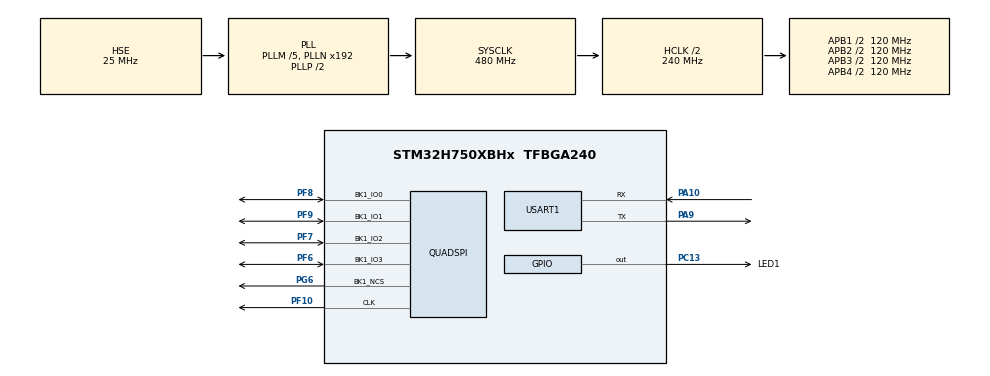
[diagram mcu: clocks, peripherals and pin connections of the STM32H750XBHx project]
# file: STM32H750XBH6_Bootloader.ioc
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CORTEX_M7.AccessPermission_S-Cortex_Memory_Protection_Unit_Region1_Settings_S=MPU_REGION_FULL_ACCESS
CORTEX_M7.BaseAddress_S-Cortex_Memory_Protection_Unit_Region1_Settings_S=0x90000000
CORTEX_M7.CPU_DCache=Enabled
CORTEX_M7.CPU_ICache=Enabled
CORTEX_M7.Enable_S-Cortex_Memory_Protection_Unit_Region1_Settings_S=MPU_REGION_ENABLE
CORTEX_M7.IsCacheable_S-Cortex_Memory_Protection_Unit_Region1_Settings_S=MPU_ACCESS_CACHEABLE
CORTEX_M7.Size_S-Cortex_Memory_Protection_Unit_Region1_Settings_S=MPU_REGION_SIZE_128MB
CORTEX_M7.default_mode_Activation=1
Mcu.Family=STM32H7
Mcu.Name=STM32H750XBHx
Mcu.Package=TFBGA240
NVIC.PriorityGroup=NVIC_PRIORITYGROUP_4
PA10.Mode=Asynchronous
PA10.Signal=USART1_RX
PA13\ (JTMS/SWDIO).Mode=Serial_Wire
PA13\ (JTMS/SWDIO).Signal=DEBUG_JTMS-SWDIO
PA14\ (JTCK/SWCLK).Mode=Serial_Wire
PA14\ (JTCK/SWCLK).Signal=DEBUG_JTCK-SWCLK
PA9.Mode=Asynchronous
PA9.Signal=USART1_TX
PC13.GPIO_Label=LED1
PC13.Signal=GPIO_Output
PF10.GPIO_Speed=GPIO_SPEED_FREQ_VERY_HIGH
PF10.Mode=Single Bank 1
PF10.Signal=QUADSPI_CLK
PF6.GPIO_Speed=GPIO_SPEED_FREQ_VERY_HIGH
PF6.Mode=Single Bank 1
PF6.Signal=QUADSPI_BK1_IO3
PF7.GPIO_Speed=GPIO_SPEED_FREQ_VERY_HIGH
PF7.Mode=Single Bank 1
PF7.Signal=QUADSPI_BK1_IO2
PF8.GPIO_Speed=GPIO_SPEED_FREQ_VERY_HIGH
PF8.Mode=Single Bank 1
PF8.Signal=QUADSPI_BK1_IO0
PF9.GPIO_Speed=GPIO_SPEED_FREQ_VERY_HIGH
PF9.Mode=Single Bank 1
PF9.Signal=QUADSPI_BK1_IO1
PG6.GPIO_Speed=GPIO_SPEED_FREQ_VERY_HIGH
PG6.Mode=Single Bank 1
PG6.Signal=QUADSPI_BK1_NCS
PH0-OSC_IN\ (PH0).Mode=HSE-External-Oscillator
PH0-OSC_IN\ (PH0).Signal=RCC_OSC_IN
PH1-OSC_OUT\ (PH1).Mode=HSE-External-Oscillator
PH1-OSC_OUT\ (PH1).Signal=RCC_OSC_OUT
ProjectManager.HeapSize=0x400
ProjectManager.StackSize=0x600
ProjectManager.TargetToolchain=CMake
QUADSPI.ClockMode=QSPI_CLOCK_MODE_3
QUADSPI.ClockPrescaler=1
QUADSPI.FifoThreshold=32
QUADSPI.FlashSize=22
QUADSPI.SampleShifting=QSPI_SAMPLE_SHIFTING_HALFCYCLE
RCC.ADCFreq_Value=480000000
RCC.APB1Freq_Value=120000000
RCC.APB2Freq_Value=120000000
RCC.APB3Freq_Value=120000000
RCC.APB4Freq_Value=120000000
RCC.CortexFreq_Value=480000000
RCC.D1PPRE=RCC_APB3_DIV2
RCC.D2PPRE1=RCC_APB1_DIV2
RCC.D2PPRE2=RCC_APB2_DIV2
RCC.D3PPRE=RCC_APB4_DIV2
RCC.DIVM1=5
RCC.DIVM2=5
RCC.DIVM3=5
RCC.DIVN1=192
RCC.DIVN2=192
RCC.DIVN3=192
RCC.HCLKFreq_Value=240000000
RCC.HPRE=RCC_HCLK_DIV2
RCC.PLLFRACN=0
RCC.PLLSourceVirtual=RCC_PLLSOURCE_HSE
RCC.SYSCLKFreq_VALUE=480000000
RCC.SYSCLKSource=RCC_SYSCLKSOURCE_PLLCLK
RCC.USBFreq_Value=480000000
USART1.DMADisableonRxErrorParam=ADVFEATURE_DMA_DISABLEONRXERROR
USART1.OverrunDisableParam=ADVFEATURE_OVERRUN_DISABLE
USART1.VirtualMode-Asynchronous=VM_ASYNC
VP_MEMORYMAP_VS_MEMORYMAP.Mode=CurAppReg
board=custom

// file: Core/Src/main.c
/* USER CODE BEGIN Header */
/**
  ******************************************************************************
  * @file           : main.c
  * @brief          : Main program body
  ******************************************************************************
  * @attention
  *
  * Copyright (c) 2026 STMicroelectronics.
  * All rights reserved.
  *
  * This software is licensed under terms that can be found in the LICENSE file
  * in the root directory of this software component.
  * If no LICENSE file comes with this software, it is provided AS-IS.
  *
  ******************************************************************************
  */
/* USER CODE END Header */
#include "main.h"
#include "quadspi.h"
#include "usart.h"
#include "gpio.h"

/* USER CODE BEGIN Includes */
#include "qspi_w25q64.h"	/* BSP: W25Qxx (QSPI Flash) */
#include "retarget.h"			/* Library: printf -> USART1 */

/* LED：引脚配置由 CubeMX 生成的 gpio.c(MX_GPIO_Init) 负责，默认输出低=点亮。
   需要控制时再 #include "led.h" 使用 LED1_ON / LED1_OFF / LED1_Toggle 宏 */
/* USER CODE END Includes */

/* USER CODE BEGIN PTD */
typedef void (*pFunction)(void); /* 用于跳转到用户程序的函数指针类型 */
/* USER CODE END PTD */

/* USER CODE BEGIN PV */
/* 这两个变量必须是全局（不能在栈上）：设置MSP之后栈指针就切到用户程序那边了，
   若函数指针和栈指针存放在栈上，跳转时就会取到已经失效的内存 */
static pFunction JumpToApplication; /* 用户程序入口地址 */
static uint32_t AppStackPointer; /* 用户程序的初始MSP */
/* USER CODE END PV */

void SystemClock_Config(void);

static void MPU_Config(void);

int main(void) {

    /* MPU Configuration--------------------------------------------------------*/
    MPU_Config();

    /* Enable the CPU Cache */

    /* Enable I-Cache---------------------------------------------------------*/
    SCB_EnableICache();

    /* Enable D-Cache---------------------------------------------------------*/
    SCB_EnableDCache();

    /* MCU Configuration--------------------------------------------------------*/

    /* Reset of all peripherals, Initializes the Flash interface and the Systick. */
    HAL_Init();

    /* Configure the system clock */
    SystemClock_Config();

    /* Initialize all configured peripherals */
    MX_GPIO_Init();
    MX_QUADSPI_Init();
    MX_USART1_UART_Init();
    /* USER CODE BEGIN 2 */
    /* 说明：QSPI 内存映射区(0x90000000)的 MPU 访问权限由 CubeMX 生成的
       MPU_Config() 负责（CORTEX_M7 -> MPU Region 1 Settings，
       BaseAddress=0x90000000 / Size=128MB / AccessPermission=FULL_ACCESS），
       它在 main() 开头已经被调用，这里不需要再做任何 MPU 配置。 */

    /* printf()输出到USART1：由 Library/retarget.c 提供重定向 */
    RetargetInit(&huart1);

    printf("\r\n***************************************\r\n");

    if (QSPI_W25Qxx_Init() == QSPI_W25Qxx_OK) /* 复位W25Q64并读取器件ID */
    {
        QSPI_W25Qxx_MemoryMappedMode(); /* 配置QSPI为内存映射模式，之后W25Q64被映射到 0x90000000 */

        printf("Jump to the user application in W25Q64 >>>\r\n\r\n");

        /* 取出用户程序的初始MSP和复位向量（一定要在关Cache/切栈之前读出来） */
        JumpToApplication = (pFunction) (*(__IO uint32_t *) (W25Qxx_Mem_Addr + 4));
        AppStackPointer = *(__IO uint32_t *) W25Qxx_Mem_Addr;

        /* 跳转前把CPU恢复成干净状态：关Cache、停SysTick、关闭MPU（恢复复位默认状态） */
        SCB_DisableICache();
        SCB_DisableDCache();

        SysTick->CTRL = 0; /* 关闭SysTick */
        SysTick->LOAD = 0; /* 清零重载值 */
        SysTick->VAL = 0; /* 清零计数值 */

        HAL_MPU_Disable();

        __set_MSP(AppStackPointer); /* 设置主堆栈指针为用户程序的初始MSP */
        JumpToApplication(); /* 执行跳转 */
    } else {
        printf("W25Q64 not found, boot aborted.\r\n");
    }

    /* USER CODE END 2 */

    /* Infinite loop */
    while (1) {

    }
}

void SystemClock_Config(void) {
    RCC_OscInitTypeDef RCC_OscInitStruct = {0};
    RCC_ClkInitTypeDef RCC_ClkInitStruct = {0};

    /** Supply configuration update enable
    */
    HAL_PWREx_ConfigSupply(PWR_LDO_SUPPLY);

    /** Configure the main internal regulator output voltage
    */
    __HAL_PWR_VOLTAGESCALING_CONFIG(PWR_REGULATOR_VOLTAGE_SCALE0);

    while (!__HAL_PWR_GET_FLAG(PWR_FLAG_VOSRDY)) {
    }

    /** Initializes the RCC Oscillators according to the specified parameters
    * in the RCC_OscInitTypeDef structure.
    */
    RCC_OscInitStruct.OscillatorType = RCC_OSCILLATORTYPE_HSE;
    RCC_OscInitStruct.HSEState = RCC_HSE_ON;
    RCC_OscInitStruct.PLL.PLLState = RCC_PLL_ON;
    RCC_OscInitStruct.PLL.PLLSource = RCC_PLLSOURCE_HSE;
    RCC_OscInitStruct.PLL.PLLM = 5;
    RCC_OscInitStruct.PLL.PLLN = 192;
    RCC_OscInitStruct.PLL.PLLP = 2;
    RCC_OscInitStruct.PLL.PLLQ = 2;
    RCC_OscInitStruct.PLL.PLLR = 2;
    RCC_OscInitStruct.PLL.PLLRGE = RCC_PLL1VCIRANGE_2;
    RCC_OscInitStruct.PLL.PLLVCOSEL = RCC_PLL1VCOWIDE;
    RCC_OscInitStruct.PLL.PLLFRACN = 0;
    if (HAL_RCC_OscConfig(&RCC_OscInitStruct) != HAL_OK) {
        Error_Handler();
    }

    /** Initializes the CPU, AHB and APB buses clocks
    */
    RCC_ClkInitStruct.ClockType = RCC_CLOCKTYPE_HCLK | RCC_CLOCKTYPE_SYSCLK
                                  | RCC_CLOCKTYPE_PCLK1 | RCC_CLOCKTYPE_PCLK2
                                  | RCC_CLOCKTYPE_D3PCLK1 | RCC_CLOCKTYPE_D1PCLK1;
    RCC_ClkInitStruct.SYSCLKSource = RCC_SYSCLKSOURCE_PLLCLK;
    RCC_ClkInitStruct.SYSCLKDivider = RCC_SYSCLK_DIV1;
    RCC_ClkInitStruct.AHBCLKDivider = RCC_HCLK_DIV2;
    RCC_ClkInitStruct.APB3CLKDivider = RCC_APB3_DIV2;
    RCC_ClkInitStruct.APB1CLKDivider = RCC_APB1_DIV2;
    RCC_ClkInitStruct.APB2CLKDivider = RCC_APB2_DIV2;
    RCC_ClkInitStruct.APB4CLKDivider = RCC_APB4_DIV2;

    if (HAL_RCC_ClockConfig(&RCC_ClkInitStruct, FLASH_LATENCY_4) != HAL_OK) {
        Error_Handler();
    }
}

/* MPU Configuration */

void MPU_Config(void) {
    MPU_Region_InitTypeDef MPU_InitStruct = {0};

    /* Disables the MPU */
    HAL_MPU_Disable();

    /** Initializes and configures the Region and the memory to be protected
    */
    MPU_InitStruct.Enable = MPU_REGION_ENABLE;
    MPU_InitStruct.Number = MPU_REGION_NUMBER0;
    MPU_InitStruct.BaseAddress = 0x0;
    MPU_InitStruct.Size = MPU_REGION_SIZE_4GB;
    MPU_InitStruct.SubRegionDisable = 0x87;
    MPU_InitStruct.TypeExtField = MPU_TEX_LEVEL0;
    MPU_InitStruct.AccessPermission = MPU_REGION_NO_ACCESS;
    MPU_InitStruct.DisableExec = MPU_INSTRUCTION_ACCESS_DISABLE;
    MPU_InitStruct.IsShareable = MPU_ACCESS_SHAREABLE;
    MPU_InitStruct.IsCacheable = MPU_ACCESS_NOT_CACHEABLE;
    MPU_InitStruct.IsBufferable = MPU_ACCESS_NOT_BUFFERABLE;

    HAL_MPU_ConfigRegion(&MPU_InitStruct);

    /** Initializes and configures the Region and the memory to be protected
    */
    MPU_InitStruct.Number = MPU_REGION_NUMBER1;
    MPU_InitStruct.BaseAddress = 0x90000000;
    MPU_InitStruct.Size = MPU_REGION_SIZE_128MB;
    MPU_InitStruct.SubRegionDisable = 0x0;
    MPU_InitStruct.AccessPermission = MPU_REGION_FULL_ACCESS;
    MPU_InitStruct.DisableExec = MPU_INSTRUCTION_ACCESS_ENABLE;
    MPU_InitStruct.IsShareable = MPU_ACCESS_NOT_SHAREABLE;
    MPU_InitStruct.IsCacheable = MPU_ACCESS_CACHEABLE;

    HAL_MPU_ConfigRegion(&MPU_InitStruct);
    /* Enables the MPU */
    HAL_MPU_Enable(MPU_PRIVILEGED_DEFAULT);
}

void Error_Handler(void) {
    __disable_irq();
    while (1) {
    }
}
